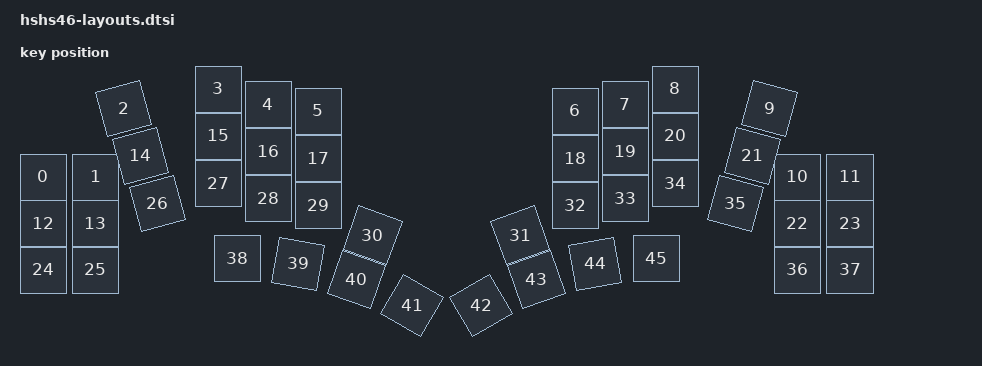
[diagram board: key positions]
/*
 * Copyright (c) 2021-2022 The ZMK Contributors
 * SPDX-License-Identifier: MIT
 *
 * HSHS46 Physical Layout
 * Key rotations represent visual splay only (not PCB footprint rotation)
 * Same geometry as config (see `config/boards/shields/hshs46/hshs46-layouts.dtsi`).
 */

#include <physical_layouts.dtsi>

/ {
    hshs46_physical_layout: hshs46_physical_layout {
        compatible = "zmk,physical-layout";
        display-name = "HSHS46";

        keys  //                     w    h     x     y      rot    rx    ry
        /* Row 0 - left (positions mirror right BSPC,P,O,I,U,Y) */
            = <&key_physical_attrs 100  100    58   176        0   108   226>  /* L row0 col0 grave */
            , <&key_physical_attrs 100  100   163   176        0   213   226>  /* L row0 col1 Q */
            , <&key_physical_attrs 100  100   219    39  (-1500)   269    89>  /* L row0 col2 W */
            , <&key_physical_attrs 100  100   408     0        0   458    50>  /* L row0 col3 E */
            , <&key_physical_attrs 100  100   508    31        0   558    81>  /* L row0 col4 R */
            , <&key_physical_attrs 100  100   608    44        0   658    94>  /* L row0 col5 T */
        /* Row 0 - right */
            , <&key_physical_attrs 100  100  1122    44        0  1172    94>  /* R row0 col6 Y */
            , <&key_physical_attrs 100  100  1222    31        0  1272    81>  /* R row0 col7 U */
            , <&key_physical_attrs 100  100  1322     0        0  1372    50>  /* R row0 col8 I */
            , <&key_physical_attrs 100  100  1511    39     1500  1561    89>  /* R col3 row0 O */
            , <&key_physical_attrs 100  100  1567   176        0  1617   226>  /* R col5 row0 P */
            , <&key_physical_attrs 100  100  1672   176        0  1722   226>  /* R col6 row0 BSPC */
        /* Row 1 - left (mirror ENTER,SEMI,L,K,J,H) */
            , <&key_physical_attrs 100  100    58   269        0   108   319>  /* L row1 col0 TAB */
            , <&key_physical_attrs 100  100   163   269        0   213   319>  /* L row1 col1 A */
            , <&key_physical_attrs 100  100   253   134  (-1500)   303   184>  /* L row1 col2 S */
            , <&key_physical_attrs 100  100   408    94        0   458   144>  /* L row1 col3 D */
            , <&key_physical_attrs 100  100   508   125        0   558   175>  /* L row1 col4 F */
            , <&key_physical_attrs 100  100   608   139        0   658   189>  /* L row1 col5 G */
        /* Row 1 - right */
            , <&key_physical_attrs 100  100  1122   139        0  1172   189>  /* R row1 col6 H */
            , <&key_physical_attrs 100  100  1222   125        0  1272   175>  /* R row1 col7 J */
            , <&key_physical_attrs 100  100  1322    94        0  1372   144>  /* R row1 col8 K */
            , <&key_physical_attrs 100  100  1477   134     1500  1527   184>  /* R col3 row1 L */
            , <&key_physical_attrs 100  100  1567   269        0  1617   319>  /* R col5 row1 SEMI */
            , <&key_physical_attrs 100  100  1672   269        0  1722   319>  /* R col6 row1 ENTER */
        /* Row 2 - left (mirror SQT,SLASH,DOT,COMMA,M,N) */
            , <&key_physical_attrs 100  100    58   362        0   108   412>  /* L row2 col0 CTL */
            , <&key_physical_attrs 100  100   163   362        0   213   412>  /* L row2 col1 Z */
            , <&key_physical_attrs 100  100   287   229  (-1500)   337   279>  /* L row2 col2 X */
            , <&key_physical_attrs 100  100   408   189        0   458   239>  /* L row2 col3 C */
            , <&key_physical_attrs 100  100   508   219        0   558   269>  /* L row2 col4 V */
            , <&key_physical_attrs 100  100   608   233        0   658   283>  /* L row2 col5 B */
        /* Inner extra bottom keys — col 0: pivot on SFT / SPC (no separate ry stagger) */
            , <&key_physical_attrs 100  100   685   287     2000   735   431>  /* L ESC */
            , <&key_physical_attrs 100  100  1045   287  (-2000)  1095   431>  /* R CAPS */
        /* Row 2 - right */
            , <&key_physical_attrs 100  100  1122   233        0  1172   283>  /* R row2 col6 N */
            , <&key_physical_attrs 100  100  1222   219        0  1272   269>  /* R row2 col7 M */
            , <&key_physical_attrs 100  100  1322   189        0  1372   239>  /* R row2 col8 comma */
            , <&key_physical_attrs 100  100  1443   229     1500  1493   279>  /* R col3 row2 DOT */
            , <&key_physical_attrs 100  100  1567   362        0  1617   412>  /* R col5 row2 SLASH */
            , <&key_physical_attrs 100  100  1672   362        0  1722   412>  /* R col6 row2 SQT */
        /* Thumb - left RC(3,1..4): mirror right (+12 split gap vs prior) */
            , <&key_physical_attrs 100  100   446   339        0   496   389>  /* L thumb RC(3,1) GUI */
            , <&key_physical_attrs 100  100   568   350     1000   618   400>  /* L thumb RC(3,2) ALT */
            , <&key_physical_attrs 100  100   685   381     2000   735   431>  /* L thumb RC(3,3) SHIFT */
            , <&key_physical_attrs 100  100   796   433     3000   846   483>  /* L thumb RC(3,4) NAV */
        /* Thumb - right RC(3,7..10) */
            , <&key_physical_attrs 100  100   934   433  (-3000)   984   483>  /* R thumb RC(3,7) SYM */
            , <&key_physical_attrs 100  100  1045   381  (-2000)  1095   431>  /* R thumb RC(3,8) SPC */
            , <&key_physical_attrs 100  100  1162   350  (-1000)  1212   400>  /* R thumb RC(3,9) ALT */
            , <&key_physical_attrs 100  100  1284   339        0  1334   389>  /* R thumb RC(3,10) GUI */
            ;
    };
};
